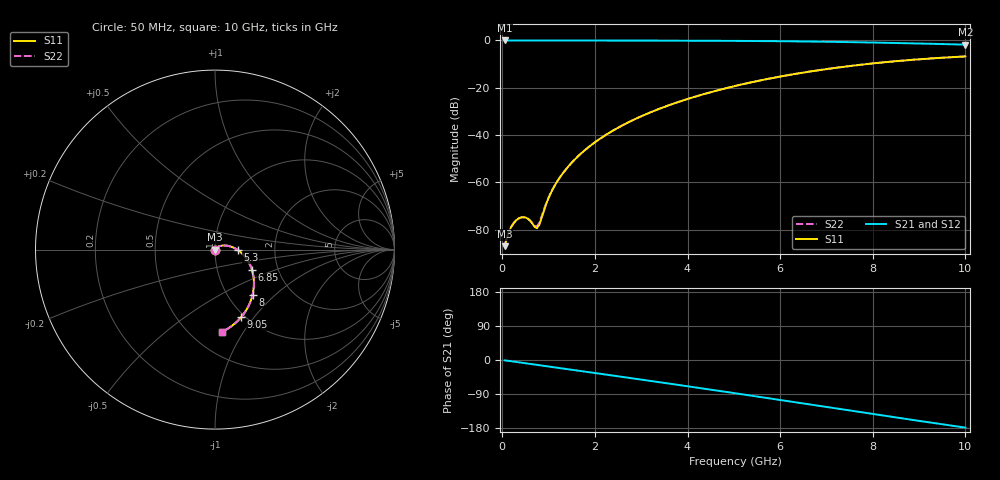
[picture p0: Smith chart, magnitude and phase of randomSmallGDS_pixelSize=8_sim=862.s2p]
! freq	dB(S11)	phase(S11)	dB(S12)	phase(S12)
!  dB(S21)	phase(S21)	dB(S22)	phase(S22)
!S-par simulation data
#  GHz  S  DB  R 50
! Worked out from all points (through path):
!   200 points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, 50 MHz to 10 GHz, reference 50 ohm
!   highest |S21| = 0.00 dB at 50 MHz (marker M1); lowest = -1.8 dB at 10 GHz (marker M2)
!   group delay of S21, straight-line fit = 49.9 ps
!   lowest |S11| = -86.9 dB at 50 MHz (marker M3), VSWR 1.00, Z = 50 - j0.00316 ohm
!   |S11| at or under -10 dB: start of sweep to 7.862 GHz
!   |S22| runs from -86.9 to -6.7 dB; largest |S21 - S12| = 0
!   S11 on the Smith chart (normalised r, x): 50 MHz: 1.00, -0.00; 5.3 GHz: 1.29, -0.00; 6.85 GHz: 1.47, -0.36; 8 GHz: 1.30, -0.73; 9.05 GHz: 0.96, -0.86; 10 GHz: 0.70, -0.81
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0.05  -86.90 -44.3  -0.00 -0.9  -0.00 -0.9  -86.91 -44.3
0.15  -80.51 -75.2  -0.00 -2.6  -0.00 -2.6  -80.53 -75.5
0.3  -75.97 -90.9  -0.00 -5.2  -0.00 -5.2  -76.00 -91.5
0.45  -74.65 -102.5  -0.01 -7.8  -0.01 -7.8  -74.66 -103.6
0.55  -75.28 -112.7  -0.01 -9.5  -0.01 -9.5  -75.24 -114.6
0.75  -79.30 -179.2  -0.02 -12.9  -0.02 -12.9  -78.57 179.3
0.8  -77.77 150.1  -0.02 -13.8  -0.02 -13.8  -77.04 150.9
1  -66.52 98.6  -0.02 -17.2  -0.02 -17.2  -66.35 100.5
1.15  -60.74 87.9  -0.02 -19.8  -0.02 -19.8  -60.65 89.3
1.4  -53.83 77.9  -0.03 -24.0  -0.03 -24.0  -53.79 78.8
1.75  -46.90 68.2  -0.03 -30.1  -0.03 -30.1  -46.88 68.9
2.45  -37.41 52.8  -0.05 -42.1  -0.05 -42.1  -37.40 53.2
3.4  -28.81 34.3  -0.07 -58.7  -0.07 -58.7  -28.80 34.6
4.25  -23.24 18.5  -0.12 -73.7  -0.12 -73.7  -23.24 18.8
5.05  -19.13 3.9  -0.18 -88.1  -0.18 -88.1  -19.13 4.1
5.3  -18.01 -0.7  -0.21 -92.7  -0.21 -92.7  -18.01 -0.5
6.7  -12.96 -26.5  -0.47 -118.4  -0.47 -118.4  -12.95 -26.3
6.85  -12.52 -29.2  -0.51 -121.2  -0.51 -121.2  -12.52 -29.1
8  -9.71 -50.2  -0.88 -142.5  -0.88 -142.5  -9.71 -50.0
8.35  -9.03 -56.5  -1.01 -148.9  -1.01 -148.9  -9.03 -56.3
9.05  -7.89 -68.8  -1.32 -161.6  -1.32 -161.6  -7.89 -68.7
10  -6.75 -85.1  -1.76 -178.4  -1.76 -178.4  -6.75 -84.9
